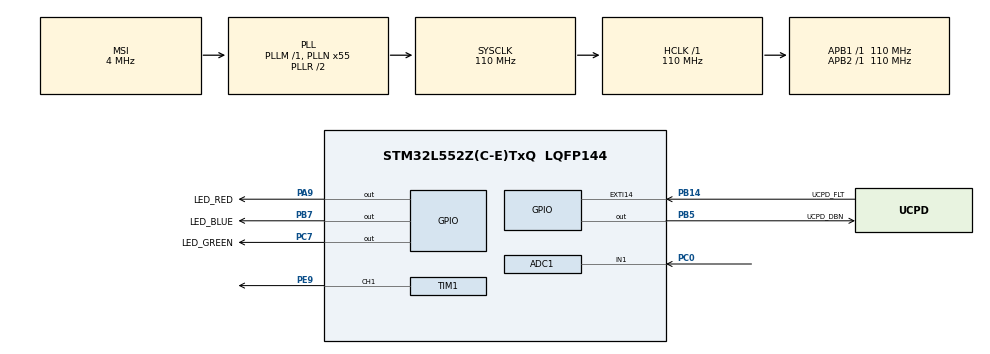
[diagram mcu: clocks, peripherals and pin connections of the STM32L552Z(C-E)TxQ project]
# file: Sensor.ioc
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ADC1.Channel-0\#ChannelRegularConversion=ADC_CHANNEL_1
ADC1.ClockPrescaler=ADC_CLOCK_SYNC_PCLK_DIV4
ADC1.ContinuousConvMode=DISABLE
ADC1.DMAContinuousRequests=ENABLE
ADC1.ExternalTrigConv=ADC_EXTERNALTRIG_T3_TRGO
ADC1.NbrOfConversion=1
ADC1.NbrOfConversionFlag=1
ADC1.OffsetNumber-0\#ChannelRegularConversion=ADC_OFFSET_NONE
ADC1.Rank-0\#ChannelRegularConversion=1
ADC1.SamplingTime-0\#ChannelRegularConversion=ADC_SAMPLETIME_2CYCLES_5
ADC1.master=1
Dma.ADC1.0.Channel_PRIV_NPRIV=DMA_CHANNEL_NPRIV_DISABLE
Dma.ADC1.0.Direction=DMA_PERIPH_TO_MEMORY
Dma.ADC1.0.EventEnable=DISABLE
Dma.ADC1.0.Instance=DMA1_Channel1
Dma.ADC1.0.MemDataAlignment=DMA_MDATAALIGN_HALFWORD
Dma.ADC1.0.MemInc=DMA_MINC_ENABLE
Dma.ADC1.0.Mode=DMA_CIRCULAR
Dma.ADC1.0.PeriphDataAlignment=DMA_PDATAALIGN_HALFWORD
Dma.ADC1.0.PeriphInc=DMA_PINC_DISABLE
Dma.ADC1.0.Polarity=HAL_DMAMUX_REQ_GEN_RISING
Dma.ADC1.0.Priority=DMA_PRIORITY_LOW
Dma.ADC1.0.RequestNumber=1
Dma.ADC1.0.SignalID=NONE
Dma.ADC1.0.SyncEnable=DISABLE
Dma.ADC1.0.SyncPolarity=HAL_DMAMUX_SYNC_NO_EVENT
Dma.ADC1.0.SyncRequestNumber=1
Dma.ADC1.0.SyncSignalID=NONE
Dma.Request0=ADC1
FREERTOS.Tasks01=defaultTask,24,128,StartDefaultTask,Default,NULL,Dynamic,NULL,NULL;ldrTask,8,128,StartLDRTask,Default,NULL,Dynamic,NULL,NULL;ultrasoundTask,8,128,StartUltrasoundTask,Default,NULL,Dynamic,NULL,NULL
FREERTOS.configUSE_NEWLIB_REENTRANT=1
Mcu.Family=STM32L5
Mcu.Name=STM32L552Z(C-E)TxQ
Mcu.Package=LQFP144
Mcu.TrustZone=disable
NVIC.ADC1_2_IRQn=true\:5\:0\:false\:false\:true\:true\:true\:true\:true
NVIC.DMA1_Channel1_IRQn=true\:5\:0\:false\:false\:true\:true\:false\:true\:true
NVIC.PriorityGroup=NVIC_PRIORITYGROUP_3
NVIC.TIM2_IRQn=true\:7\:0\:false\:false\:true\:false\:false\:true\:true
NVIC.TIM3_IRQn=true\:5\:0\:false\:false\:true\:true\:true\:true\:true
NVIC.TIM4_IRQn=true\:5\:0\:false\:false\:true\:true\:true\:true\:true
NVIC.TimeBase=TIM2_IRQn
NVIC.TimeBaseIP=TIM2
PA11.Signal=USB_DM
PA13\ (JTMS/SWDIO).Signal=DEBUG_JTMS-SWDIO
PA14\ (JTCK/SWCLK).Signal=DEBUG_JTCK-SWCLK
PA15\ (JTDI).Signal=UCPD1_CC1
PA9.GPIO_Label=LED_RED
PA9.Signal=GPIO_Output
PB14.GPIO_Label=UCPD_FLT
PB14.Signal=GPXTI14
PB15.Signal=UCPD1_CC2
PB3\ (JTDO/TRACESWO).Signal=DEBUG_JTDO-SWO
PB5.GPIO_Label=UCPD_DBN
PB5.Signal=GPIO_Output
PB7.GPIO_Label=LED_BLUE
PB7.Signal=GPIO_Output
PC0.Signal=ADCx_IN1
PC13.GPIO_Label=USER_BUTTON
PC13.Signal=PWR_WKUP2
PC14-OSC32_IN\ (PC14).Signal=RCC_OSC32_IN
PC15-OSC32_OUT\ (PC15).Signal=RCC_OSC32_OUT
PC2.GPIO_Label=VBUS_SENSE
PC2.Signal=ADCx_IN3
PC7.GPIO_Label=LED_GREEN
PC7.Signal=GPIO_Output
PE9.Signal=S_TIM1_CH1
PG7.GPIO_Label=LPUART1_TX [ST-LINK_VCP_RX]
PG7.Signal=LPUART1_TX
PG8.GPIO_Label=LPUART1_RX [ST-LINK_VCP_TX]
PG8.Signal=LPUART1_RX
ProjectManager.HeapSize=0x200
ProjectManager.StackSize=0x400
ProjectManager.TargetToolchain=STM32CubeIDE
RCC.ADCCLockSelection=RCC_ADCCLKSOURCE_SYSCLK
RCC.ADCFreq_Value=110000000
RCC.AHBFreq_Value=110000000
RCC.APB1Freq_Value=110000000
RCC.APB1TimFreq_Value=110000000
RCC.APB2Freq_Value=110000000
RCC.APB2TimFreq_Value=110000000
RCC.CK48CLockSelection=RCC_USBCLKSOURCE_HSI48
RCC.CortexFreq_Value=110000000
RCC.HCLKFreq_Value=110000000
RCC.HSE_VALUE=8000000
RCC.HSI48_VALUE=48000000
RCC.HSI_VALUE=16000000
RCC.LSE_VALUE=32768
RCC.MSI_VALUE=4000000
RCC.PLLN=55
RCC.PLLSAI1N=24
RCC.RTCClockSelection=RCC_RTCCLKSOURCE_LSE
RCC.SYSCLKFreq_VALUE=110000000
RCC.SYSCLKSource=RCC_SYSCLKSOURCE_PLLCLK
RCC.USBFreq_Value=48000000
RCC.VCOOutputFreq_Value=220000000
SH.ADCx_IN1.0=ADC1_IN1,IN1-Single-Ended
SH.ADCx_IN3.0=ADC1_IN3
SH.S_TIM1_CH1.0=TIM1_CH1,PWM Generation1 CH1
TIM1.Channel-PWM\ Generation1\ CH1=TIM_CHANNEL_1
TIM3.Period=16784
TIM3.Prescaler=65535
TIM3.TIM_MasterOutputTrigger=TIM_TRGO_UPDATE
TIM4.TIM_MasterOutputTrigger=TIM_TRGO_UPDATE
VP_FREERTOS_VS_CMSIS_V2.Mode=CMSIS_V2
VP_ICACHE_VS_ICACHE.Mode=DirectMappedCache
VP_PWR_VS_DBSignals.Mode=DisableDeadBatterySignals
VP_PWR_VS_SECSignals.Mode=Security/Privilege
VP_SYS_VS_tim2.Mode=TIM2
VP_TIM3_VS_ClockSourceINT.Mode=Internal
VP_TIM4_VS_ClockSourceINT.Mode=Internal
board=NUCLEO-L552ZE-Q

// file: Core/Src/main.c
/* USER CODE BEGIN Header */
/**
  ******************************************************************************
  * @file           : main.c
  * @brief          : Main program body
  ******************************************************************************
  * @attention
  *
  * Copyright (c) 2024 STMicroelectronics.
  * All rights reserved.
  *
  * This software is licensed under terms that can be found in the LICENSE file
  * in the root directory of this software component.
  * If no LICENSE file comes with this software, it is provided AS-IS.
  *
  ******************************************************************************
  */
/* USER CODE END Header */
#include "main.h"
#include "cmsis_os.h"

/* USER CODE BEGIN Includes */
#include "FreeRTOS.h"
/* USER CODE END Includes */

/* USER CODE BEGIN PM */
#define ITM_Port32(n)	(*((volatile unsigned long *)(0xE0000000+4*n)))
#define ADC_CONVERTED_DATA_BUFFER_SIZE 1 //Tamaño del buffer para el ADC
/* USER CODE END PM */

ADC_HandleTypeDef hadc1;
DMA_HandleTypeDef hdma_adc1;

TIM_HandleTypeDef htim1;
TIM_HandleTypeDef htim3;
TIM_HandleTypeDef htim4;

/* Definitions for defaultTask */
osThreadId_t defaultTaskHandle;
const osThreadAttr_t defaultTask_attributes = {
  .name = "defaultTask",
  .priority = (osPriority_t) osPriorityNormal,
  .stack_size = 128 * 4
};
/* Definitions for ldrTask */
osThreadId_t ldrTaskHandle;
const osThreadAttr_t ldrTask_attributes = {
  .name = "ldrTask",
  .priority = (osPriority_t) osPriorityLow,
  .stack_size = 128 * 4
};
/* Definitions for ultrasoundTask */
osThreadId_t ultrasoundTaskHandle;
const osThreadAttr_t ultrasoundTask_attributes = {
  .name = "ultrasoundTask",
  .priority = (osPriority_t) osPriorityLow,
  .stack_size = 128 * 4
};
/* USER CODE BEGIN PV */
uint16_t aADCxConvertedData[ADC_CONVERTED_DATA_BUFFER_SIZE]; //Buffer del adc
/* USER CODE END PV */

void SystemClock_Config(void);
static void MX_GPIO_Init(void);
static void MX_DMA_Init(void);
static void MX_TIM1_Init(void);
static void MX_ADC1_Init(void);
static void MX_TIM3_Init(void);
static void MX_ICACHE_Init(void);
static void MX_TIM4_Init(void);
void StartDefaultTask(void *argument);
void StartLDRTask(void *argument);
void StartUltrasoundTask(void *argument);

int main(void)
{

  /* MCU Configuration--------------------------------------------------------*/

  /* Reset of all peripherals, Initializes the Flash interface and the Systick. */
  HAL_Init();

  /* Configure the system clock */
  SystemClock_Config();

  /* Initialize all configured peripherals */
  MX_GPIO_Init();
  MX_DMA_Init();
  MX_TIM1_Init();
  MX_ADC1_Init();
  MX_TIM3_Init();
  MX_ICACHE_Init();
  MX_TIM4_Init();
  /* USER CODE BEGIN 2 */
  //HAL_ADC_Start(&hadc1);

  /*Inicializacion del timer3 para el ADC, configurado para que active el ADC en el flanco de bajada a 1Hz**/
  if (HAL_TIM_Base_Start(&htim3) != HAL_OK)
    {
      /* Counter enable error */
      Error_Handler();
    }

  if (HAL_ADC_Start_DMA(&hadc1, //Activo el ADC que metera los datos convertidos en el buffer correspondiente.
                            (uint32_t *)aADCxConvertedData,
                            ADC_CONVERTED_DATA_BUFFER_SIZE
                           ) != HAL_OK)
      {
        /* ADC conversion start error */
        Error_Handler();
      }
  /* USER CODE END 2 */

  /* Init scheduler */
  osKernelInitialize();

  /* Create the thread(s) */
  /* creation of defaultTask */
  defaultTaskHandle = osThreadNew(StartDefaultTask, NULL, &defaultTask_attributes);

  /* creation of ldrTask */
  ldrTaskHandle = osThreadNew(StartLDRTask, NULL, &ldrTask_attributes);

  /* creation of ultrasoundTask */
  ultrasoundTaskHandle = osThreadNew(StartUltrasoundTask, NULL, &ultrasoundTask_attributes);

  /* Start scheduler */
  osKernelStart();

  /* We should never get here as control is now taken by the scheduler */
  /* Infinite loop */
  while (1)
  {

  }
}

void SystemClock_Config(void)
{
  RCC_OscInitTypeDef RCC_OscInitStruct = {0};
  RCC_ClkInitTypeDef RCC_ClkInitStruct = {0};

  /** Configure the main internal regulator output voltage
  */
  if (HAL_PWREx_ControlVoltageScaling(PWR_REGULATOR_VOLTAGE_SCALE0) != HAL_OK)
  {
    Error_Handler();
  }

  /** Initializes the RCC Oscillators according to the specified parameters
  * in the RCC_OscInitTypeDef structure.
  */
  RCC_OscInitStruct.OscillatorType = RCC_OSCILLATORTYPE_MSI;
  RCC_OscInitStruct.MSIState = RCC_MSI_ON;
  RCC_OscInitStruct.MSICalibrationValue = RCC_MSICALIBRATION_DEFAULT;
  RCC_OscInitStruct.MSIClockRange = RCC_MSIRANGE_6;
  RCC_OscInitStruct.PLL.PLLState = RCC_PLL_ON;
  RCC_OscInitStruct.PLL.PLLSource = RCC_PLLSOURCE_MSI;
  RCC_OscInitStruct.PLL.PLLM = 1;
  RCC_OscInitStruct.PLL.PLLN = 55;
  RCC_OscInitStruct.PLL.PLLP = RCC_PLLP_DIV7;
  RCC_OscInitStruct.PLL.PLLQ = RCC_PLLQ_DIV2;
  RCC_OscInitStruct.PLL.PLLR = RCC_PLLR_DIV2;
  if (HAL_RCC_OscConfig(&RCC_OscInitStruct) != HAL_OK)
  {
    Error_Handler();
  }

  /** Initializes the CPU, AHB and APB buses clocks
  */
  RCC_ClkInitStruct.ClockType = RCC_CLOCKTYPE_HCLK|RCC_CLOCKTYPE_SYSCLK
                              |RCC_CLOCKTYPE_PCLK1|RCC_CLOCKTYPE_PCLK2;
  RCC_ClkInitStruct.SYSCLKSource = RCC_SYSCLKSOURCE_PLLCLK;
  RCC_ClkInitStruct.AHBCLKDivider = RCC_SYSCLK_DIV1;
  RCC_ClkInitStruct.APB1CLKDivider = RCC_HCLK_DIV1;
  RCC_ClkInitStruct.APB2CLKDivider = RCC_HCLK_DIV1;

  if (HAL_RCC_ClockConfig(&RCC_ClkInitStruct, FLASH_LATENCY_5) != HAL_OK)
  {
    Error_Handler();
  }
}

static void MX_ADC1_Init(void)
{

  ADC_MultiModeTypeDef multimode = {0};
  ADC_ChannelConfTypeDef sConfig = {0};

  /** Common config
  */
  hadc1.Instance = ADC1;
  hadc1.Init.ClockPrescaler = ADC_CLOCK_SYNC_PCLK_DIV4;
  hadc1.Init.Resolution = ADC_RESOLUTION_12B;
  hadc1.Init.DataAlign = ADC_DATAALIGN_RIGHT;
  hadc1.Init.ScanConvMode = ADC_SCAN_DISABLE;
  hadc1.Init.EOCSelection = ADC_EOC_SINGLE_CONV;
  hadc1.Init.LowPowerAutoWait = DISABLE;
  hadc1.Init.ContinuousConvMode = DISABLE;
  hadc1.Init.NbrOfConversion = 1;
  hadc1.Init.DiscontinuousConvMode = DISABLE;
  hadc1.Init.ExternalTrigConv = ADC_EXTERNALTRIG_T3_TRGO;
  hadc1.Init.ExternalTrigConvEdge = ADC_EXTERNALTRIGCONVEDGE_RISING;
  hadc1.Init.DMAContinuousRequests = ENABLE;
  hadc1.Init.Overrun = ADC_OVR_DATA_PRESERVED;
  hadc1.Init.OversamplingMode = DISABLE;
  if (HAL_ADC_Init(&hadc1) != HAL_OK)
  {
    Error_Handler();
  }

  /** Configure the ADC multi-mode
  */
  multimode.Mode = ADC_MODE_INDEPENDENT;
  if (HAL_ADCEx_MultiModeConfigChannel(&hadc1, &multimode) != HAL_OK)
  {
    Error_Handler();
  }

  /** Configure Regular Channel
  */
  sConfig.Channel = ADC_CHANNEL_1;
  sConfig.Rank = ADC_REGULAR_RANK_1;
  sConfig.SamplingTime = ADC_SAMPLETIME_2CYCLES_5;
  sConfig.SingleDiff = ADC_SINGLE_ENDED;
  sConfig.OffsetNumber = ADC_OFFSET_NONE;
  sConfig.Offset = 0;
  if (HAL_ADC_ConfigChannel(&hadc1, &sConfig) != HAL_OK)
  {
    Error_Handler();
  }

}

static void MX_ICACHE_Init(void)
{

  /** Enable instruction cache in 1-way (direct mapped cache)
  */
  if (HAL_ICACHE_ConfigAssociativityMode(ICACHE_1WAY) != HAL_OK)
  {
    Error_Handler();
  }
  if (HAL_ICACHE_Enable() != HAL_OK)
  {
    Error_Handler();
  }

}

static void MX_TIM1_Init(void)
{

  TIM_MasterConfigTypeDef sMasterConfig = {0};
  TIM_OC_InitTypeDef sConfigOC = {0};
  TIM_BreakDeadTimeConfigTypeDef sBreakDeadTimeConfig = {0};

  htim1.Instance = TIM1;
  htim1.Init.Prescaler = 0;
  htim1.Init.CounterMode = TIM_COUNTERMODE_UP;
  htim1.Init.Period = 65535;
  htim1.Init.ClockDivision = TIM_CLOCKDIVISION_DIV1;
  htim1.Init.RepetitionCounter = 0;
  htim1.Init.AutoReloadPreload = TIM_AUTORELOAD_PRELOAD_DISABLE;
  if (HAL_TIM_PWM_Init(&htim1) != HAL_OK)
  {
    Error_Handler();
  }
  sMasterConfig.MasterOutputTrigger = TIM_TRGO_RESET;
  sMasterConfig.MasterOutputTrigger2 = TIM_TRGO2_RESET;
  sMasterConfig.MasterSlaveMode = TIM_MASTERSLAVEMODE_DISABLE;
  if (HAL_TIMEx_MasterConfigSynchronization(&htim1, &sMasterConfig) != HAL_OK)
  {
    Error_Handler();
  }
  sConfigOC.OCMode = TIM_OCMODE_PWM1;
  sConfigOC.Pulse = 0;
  sConfigOC.OCPolarity = TIM_OCPOLARITY_HIGH;
  sConfigOC.OCNPolarity = TIM_OCNPOLARITY_HIGH;
  sConfigOC.OCFastMode = TIM_OCFAST_DISABLE;
  sConfigOC.OCIdleState = TIM_OCIDLESTATE_RESET;
  sConfigOC.OCNIdleState = TIM_OCNIDLESTATE_RESET;
  if (HAL_TIM_PWM_ConfigChannel(&htim1, &sConfigOC, TIM_CHANNEL_1) != HAL_OK)
  {
    Error_Handler();
  }
  sBreakDeadTimeConfig.OffStateRunMode = TIM_OSSR_DISABLE;
  sBreakDeadTimeConfig.OffStateIDLEMode = TIM_OSSI_DISABLE;
  sBreakDeadTimeConfig.LockLevel = TIM_LOCKLEVEL_OFF;
  sBreakDeadTimeConfig.DeadTime = 0;
  sBreakDeadTimeConfig.BreakState = TIM_BREAK_DISABLE;
  sBreakDeadTimeConfig.BreakPolarity = TIM_BREAKPOLARITY_HIGH;
  sBreakDeadTimeConfig.BreakFilter = 0;
  sBreakDeadTimeConfig.BreakAFMode = TIM_BREAK_AFMODE_INPUT;
  sBreakDeadTimeConfig.Break2State = TIM_BREAK2_DISABLE;
  sBreakDeadTimeConfig.Break2Polarity = TIM_BREAK2POLARITY_HIGH;
  sBreakDeadTimeConfig.Break2Filter = 0;
  sBreakDeadTimeConfig.Break2AFMode = TIM_BREAK_AFMODE_INPUT;
  sBreakDeadTimeConfig.AutomaticOutput = TIM_AUTOMATICOUTPUT_DISABLE;
  if (HAL_TIMEx_ConfigBreakDeadTime(&htim1, &sBreakDeadTimeConfig) != HAL_OK)
  {
    Error_Handler();
  }
  HAL_TIM_MspPostInit(&htim1);

}

static void MX_TIM3_Init(void)
{

  TIM_ClockConfigTypeDef sClockSourceConfig = {0};
  TIM_MasterConfigTypeDef sMasterConfig = {0};

  htim3.Instance = TIM3;
  htim3.Init.Prescaler = 65535;
  htim3.Init.CounterMode = TIM_COUNTERMODE_UP;
  htim3.Init.Period = 16784;
  htim3.Init.ClockDivision = TIM_CLOCKDIVISION_DIV1;
  htim3.Init.AutoReloadPreload = TIM_AUTORELOAD_PRELOAD_DISABLE;
  if (HAL_TIM_Base_Init(&htim3) != HAL_OK)
  {
    Error_Handler();
  }
  sClockSourceConfig.ClockSource = TIM_CLOCKSOURCE_INTERNAL;
  if (HAL_TIM_ConfigClockSource(&htim3, &sClockSourceConfig) != HAL_OK)
  {
    Error_Handler();
  }
  sMasterConfig.MasterOutputTrigger = TIM_TRGO_UPDATE;
  sMasterConfig.MasterSlaveMode = TIM_MASTERSLAVEMODE_DISABLE;
  if (HAL_TIMEx_MasterConfigSynchronization(&htim3, &sMasterConfig) != HAL_OK)
  {
    Error_Handler();
  }

}

static void MX_TIM4_Init(void)
{

  TIM_ClockConfigTypeDef sClockSourceConfig = {0};
  TIM_MasterConfigTypeDef sMasterConfig = {0};

  htim4.Instance = TIM4;
  htim4.Init.Prescaler = 0;
  htim4.Init.CounterMode = TIM_COUNTERMODE_UP;
  htim4.Init.Period = 65535;
  htim4.Init.ClockDivision = TIM_CLOCKDIVISION_DIV1;
  htim4.Init.AutoReloadPreload = TIM_AUTORELOAD_PRELOAD_DISABLE;
  if (HAL_TIM_Base_Init(&htim4) != HAL_OK)
  {
    Error_Handler();
  }
  sClockSourceConfig.ClockSource = TIM_CLOCKSOURCE_INTERNAL;
  if (HAL_TIM_ConfigClockSource(&htim4, &sClockSourceConfig) != HAL_OK)
  {
    Error_Handler();
  }
  sMasterConfig.MasterOutputTrigger = TIM_TRGO_UPDATE;
  sMasterConfig.MasterSlaveMode = TIM_MASTERSLAVEMODE_DISABLE;
  if (HAL_TIMEx_MasterConfigSynchronization(&htim4, &sMasterConfig) != HAL_OK)
  {
    Error_Handler();
  }

}

static void MX_DMA_Init(void)
{

  /* DMA controller clock enable */
  __HAL_RCC_DMAMUX1_CLK_ENABLE();
  __HAL_RCC_DMA1_CLK_ENABLE();

  /* DMA interrupt init */
  /* DMA1_Channel1_IRQn interrupt configuration */
  HAL_NVIC_SetPriority(DMA1_Channel1_IRQn, 5, 0);
  HAL_NVIC_EnableIRQ(DMA1_Channel1_IRQn);

}

static void MX_GPIO_Init(void)
{
  GPIO_InitTypeDef GPIO_InitStruct = {0};

  /* GPIO Ports Clock Enable */
  __HAL_RCC_GPIOC_CLK_ENABLE();
  __HAL_RCC_GPIOE_CLK_ENABLE();
  __HAL_RCC_GPIOB_CLK_ENABLE();
  __HAL_RCC_GPIOG_CLK_ENABLE();
  HAL_PWREx_EnableVddIO2();
  __HAL_RCC_GPIOA_CLK_ENABLE();

  /*Configure GPIO pin Output Level */
  HAL_GPIO_WritePin(LED_GREEN_GPIO_Port, LED_GREEN_Pin, GPIO_PIN_RESET);

  /*Configure GPIO pin Output Level */
  HAL_GPIO_WritePin(LED_RED_GPIO_Port, LED_RED_Pin, GPIO_PIN_RESET);

  /*Configure GPIO pin Output Level */
  HAL_GPIO_WritePin(GPIOB, UCPD_DBN_Pin|LED_BLUE_Pin, GPIO_PIN_RESET);

  /*Configure GPIO pin : UCPD_FLT_Pin */
  GPIO_InitStruct.Pin = UCPD_FLT_Pin;
  GPIO_InitStruct.Mode = GPIO_MODE_IT_RISING;
  GPIO_InitStruct.Pull = GPIO_NOPULL;
  HAL_GPIO_Init(UCPD_FLT_GPIO_Port, &GPIO_InitStruct);

  /*Configure GPIO pin : PB15 */
  GPIO_InitStruct.Pin = GPIO_PIN_15;
  GPIO_InitStruct.Mode = GPIO_MODE_ANALOG;
  GPIO_InitStruct.Pull = GPIO_NOPULL;
  HAL_GPIO_Init(GPIOB, &GPIO_InitStruct);

  /*Configure GPIO pins : LPUART1_TX_Pin LPUART1_RX_Pin */
  GPIO_InitStruct.Pin = LPUART1_TX_Pin|LPUART1_RX_Pin;
  GPIO_InitStruct.Mode = GPIO_MODE_AF_PP;
  GPIO_InitStruct.Pull = GPIO_NOPULL;
  GPIO_InitStruct.Speed = GPIO_SPEED_FREQ_LOW;
  GPIO_InitStruct.Alternate = GPIO_AF8_LPUART1;
  HAL_GPIO_Init(GPIOG, &GPIO_InitStruct);

  /*Configure GPIO pin : LED_GREEN_Pin */
  GPIO_InitStruct.Pin = LED_GREEN_Pin;
  GPIO_InitStruct.Mode = GPIO_MODE_OUTPUT_PP;
  GPIO_InitStruct.Pull = GPIO_NOPULL;
  GPIO_InitStruct.Speed = GPIO_SPEED_FREQ_LOW;
  HAL_GPIO_Init(LED_GREEN_GPIO_Port, &GPIO_InitStruct);

  /*Configure GPIO pin : LED_RED_Pin */
  GPIO_InitStruct.Pin = LED_RED_Pin;
  GPIO_InitStruct.Mode = GPIO_MODE_OUTPUT_PP;
  GPIO_InitStruct.Pull = GPIO_NOPULL;
  GPIO_InitStruct.Speed = GPIO_SPEED_FREQ_LOW;
  HAL_GPIO_Init(LED_RED_GPIO_Port, &GPIO_InitStruct);

  /*Configure GPIO pin : PA11 */
  GPIO_InitStruct.Pin = GPIO_PIN_11;
  GPIO_InitStruct.Mode = GPIO_MODE_AF_PP;
  GPIO_InitStruct.Pull = GPIO_NOPULL;
  GPIO_InitStruct.Speed = GPIO_SPEED_FREQ_LOW;
  GPIO_InitStruct.Alternate = GPIO_AF10_USB;
  HAL_GPIO_Init(GPIOA, &GPIO_InitStruct);

  /*Configure GPIO pin : PA15 */
  GPIO_InitStruct.Pin = GPIO_PIN_15;
  GPIO_InitStruct.Mode = GPIO_MODE_ANALOG;
  GPIO_InitStruct.Pull = GPIO_NOPULL;
  HAL_GPIO_Init(GPIOA, &GPIO_InitStruct);

  /*Configure GPIO pins : UCPD_DBN_Pin LED_BLUE_Pin */
  GPIO_InitStruct.Pin = UCPD_DBN_Pin|LED_BLUE_Pin;
  GPIO_InitStruct.Mode = GPIO_MODE_OUTPUT_PP;
  GPIO_InitStruct.Pull = GPIO_NOPULL;
  GPIO_InitStruct.Speed = GPIO_SPEED_FREQ_LOW;
  HAL_GPIO_Init(GPIOB, &GPIO_InitStruct);

}

/* USER CODE BEGIN 4 */
int _write(int file, char *ptr, int len)
{
	int DataIdx;

	for(DataIdx=0; DataIdx<len; DataIdx++){
		ITM_SendChar(*ptr++);
	}
	return len;
}
/* USER CODE END 4 */

void StartDefaultTask(void *argument)
{
  for(;;)
  {
    osDelay(1);
  }
}

void StartLDRTask(void *argument)
{
  /* USER CODE BEGIN StartLDRTask */
  /* Infinite loop */
	int cont = 0;
  for(;;)
  {
	  //HAL_ADC_PollForConversion(&hadc1,3000);
	  //readValue = HAL_ADC_GetValue(&hadc1);
	  cont++;
	  printf("LDR: %d Call %d\n\r", aADCxConvertedData[0], cont);
	  osDelay(10000);
  }
  /* USER CODE END StartLDRTask */
}

void StartUltrasoundTask(void *argument)
{
  for(;;)
  {
    osDelay(1);
  }
}

void HAL_TIM_PeriodElapsedCallback(TIM_HandleTypeDef *htim)
{
  if (htim->Instance == TIM2) {
    HAL_IncTick();
  }
}

void Error_Handler(void)
{
  __disable_irq();
  while (1)
  {
  }
}
